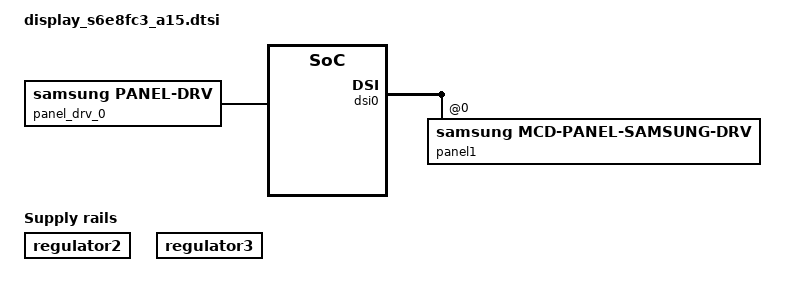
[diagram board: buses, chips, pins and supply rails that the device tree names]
/*
 * Samsung Exynos SoC series Panel driver
 *
 * Copyright (c) 2020 Samsung Electronics Co., Ltd
 *
 * This program is free software; you can redistribute it and/or modify
 * it under the terms of the GNU General Public License version 2 as
 * published by the Free Software Foundation.
 */

#include <dt-bindings/display/panel-display.h>

#define PIN_FUNC_INPUT		input-enable
#define PIN_FUNC_INPUT_WAKEUP	input-enable
#define PIN_FUNC_OUTPUT		output-enable
#define PIN_FUNC_OUTPUT_HIGH		output-high
#define PIN_FUNC_OUTPUT_LOW		output-low

#define PIN_PULL_NONE	bias-disable
#define PIN_PULL_DOWN	bias-pull-down
#define PIN_PULL_UP	bias-pull-up
#define PIN_PULL_OPEN	bias-high-impedance

/*
 * MTK_DRIVE_2mA  2
 * MTK_DRIVE_4mA  4
 * MTK_DRIVE_6mA  6
 * MTK_DRIVE_8mA  8
 * MTK_DRIVE_10mA 10
 * MTK_DRIVE_12mA 12
 * MTK_DRIVE_14mA 14
 * MTK_DRIVE_16mA 16
 */

#define PIN_DRV_LV1	2
#define PIN_DRV_LV2	4
#define PIN_DRV_LV3	6
#define PIN_DRV_LV4	8
#define PIN_DRV_LV5	10
#define PIN_DRV_LV6	12
#define PIN_DRV_LV7	14
#define PIN_DRV_LV8	16

#define PIN_EXPAND(pin) #pin

#define SEC_GPIO(src, type, num)	PIN_EXPAND(gpio##num)
#define SEC_GPIO_REF(src, type, num)	&type num
#define SEC_GPIO_NUM(src, type, num)	num
#define SEC_GPIO_TYPE(src, type, num)	&type
#define SEC_GPIO_PHANDLE_ACTIVE(src, type, num)	SEC_GPIO_PHANDLE(type, num, active)
#define SEC_GPIO_PHANDLE_SLEEP(src, type, num)	SEC_GPIO_PHANDLE(type, num, sleep)
#define SEC_GPIO_PHANDLE(type, num, mode)	type##_##num##_##mode

#define MTK_PINMUX(gpio, func) (MTK_PIN_NO(gpio) | func)

#define GPIO_CONFIG(_src, _type, _num, _func)		\
	pins_cmd_dat{					\
		pinmux = <MTK_PINMUX(SEC_GPIO_NUM(_src, _type, _num), 0)>;	\
		PIN_ ##_func;		\
	}

#define GPIO_CONFIG_PUD(_src, _type, _num, _func, _pull)	\
	pins_cmd_dat{					\
		pinmux = <MTK_PINMUX(SEC_GPIO_NUM(_src, _type, _num), 0)>;	\
		PIN_ ##_pull;				\
		PIN_ ##_func;		\
	}

#define GPIO_CONFIG_PUD_DRV(_src, _type, _num, _func, _pull, _drv)	\
	pins_cmd_dat{					\
		pinmux = <MTK_PINMUX(SEC_GPIO_NUM(_src, _type, _num), 0)>;	\
		PIN_ ##_pull;				\
		PIN_ ##_func;		\
		drive-strength = <PIN_ ##_drv>;	\
	}


/ {
	fragment@smd {
		target-path = "/";
		__overlay__ {
			smd: samsung_mobile_device {
				compatible = "simple-bus";
			};
		};
	};

	fragment@panel_display_mode {
		target-path = "/";
		__overlay__ {
			s6e8fc3_a15_panel_dsc_picture_parameter_set_default:
			s6e8fc3_a15_panel_dsc_picture_parameter_set_default {
					picture_parameter_set = /bits/ 8 <
						0x11 0x00 0x00 0x89 0x30 0x80 0x09 0x24
						0x04 0x38 0x00 0x2D 0x02 0x1C 0x02 0x1C
						0x02 0x00 0x02 0x0E 0x00 0x20 0x04 0x5A
						0x00 0x07 0x00 0x0C 0x02 0x2F 0x02 0x43
						0x18 0x00 0x10 0xF0 0x03 0x0C 0x20 0x00
						0x06 0x0B 0x0B 0x33 0x0E 0x1C 0x2A 0x38
						0x46 0x54 0x62 0x69 0x70 0x77 0x79 0x7B
						0x7D 0x7E 0x01 0x02 0x01 0x00 0x09 0x40
						0x09 0xBE 0x19 0xFC 0x19 0xFA 0x19 0xF8
						0x1A 0x38 0x1A 0x78 0x1A 0xB6 0x2A 0xF6
						0x2B 0x34 0x2B 0x74 0x3B 0x74 0x6B 0xF4
						0x00 0x00 0x00 0x00 0x00 0x00 0x00 0x00
						0x00 0x00 0x00 0x00 0x00 0x00 0x00 0x00
						0x00 0x00 0x00 0x00 0x00 0x00 0x00 0x00
						0x00 0x00 0x00 0x00 0x00 0x00 0x00 0x00
						0x00 0x00 0x00 0x00 0x00 0x00 0x00 0x00
					>;
			};
			a15x_panel_display_modes:
			a15x_panel_display_modes {
				native-mode = <&a15x_panel_display_mode_1080x2340_90hs>;
				exposed-mode = <
					&a15x_panel_display_mode_1080x2340_90hs
					&a15x_panel_display_mode_1080x2340_60hs
				>;

				/* fhd */
				a15x_panel_display_mode_1080x2340_90hs:
				a15x_panel_display_mode_1080x2340_90hs {
					id = PANEL_DISPLAY_MODE_1080x2340_90HS;
					width = <1080>;
					height = <2340>;
					/* timing parameters */
					refresh_rate = <90>;			/* logical refresh rate */
					refresh_mode = <REFRESH_MODE_HS>;
					panel_refresh_rate = <90>;		/* panel internal refresh rate */
					panel_refresh_mode = <PANEL_REFRESH_MODE_HS>;
					panel_te_st = <0>;				/* te rising */
					panel_te_ed = <0>;				/* te falling */
					panel_te_sw_skip_count = <0>;	/* s/w te modulation */
					panel_te_hw_skip_count = <0>;	/* h/w te modulation */

					panel_video_mode;
					panel_h_porch = <98 110 40>;	//HBP, HFP, HSA or HPW
					panel_v_porch = <18 48 2>;	/* panel vbp:12, vfp:4, but for ap vblank set vbp:12+4, vfp:0 */
					/* dsc parameters */
					dsc_en = <1>;			/* 0:Disable, 1:Enable */
					dsc_cnt = <1>;			/* used DSC count */
					dsc_slice_num = <2>;	/* count of dsc slice */
					dsc_slice_w = <540>;	/* width of dsc slice */
					dsc_slice_h = <45>;	/* height of dsc slice */
					dsc_picture_parameter_set = <&s6e8fc3_a15_panel_dsc_picture_parameter_set_default>;
					/* dsi parameters */
					cmd_lp_ref = <1761>;

					/*qos parameters */
					disp_qos_fps = <90>;
				};

				a15x_panel_display_mode_1080x2340_60hs:
				a15x_panel_display_mode_1080x2340_60hs {
					id = PANEL_DISPLAY_MODE_1080x2340_60HS;
					width = <1080>;
					height = <2340>;
					/* timing parameters */
					refresh_rate = <60>;			/* logical refresh rate */
					refresh_mode = <REFRESH_MODE_HS>;
					panel_refresh_rate = <60>;		/* panel internal refresh rate */
					panel_refresh_mode = <PANEL_REFRESH_MODE_HS>;
					panel_te_st = <0>;				/* te rising */
					panel_te_ed = <0>;				/* te falling */
					panel_te_sw_skip_count = <0>;	/* s/w te modulation */
					panel_te_hw_skip_count = <0>;	/* h/w te modulation */

					panel_video_mode;
					panel_h_porch = <98 110 40>;	//HBP, HFP, HSA or HPW
					panel_v_porch = <18 1252 2>;	/* panel vbp:12, vfp:2420, but for ap vblank set vbp:12+2420, vfp:0 */
					/* dsc parameters */
					dsc_en = <1>;			/* 0:Disable, 1:Enable */
					dsc_cnt = <1>;			/* used DSC count */
					dsc_slice_num = <2>;	/* count of dsc slice */
					dsc_slice_w = <540>;	/* width of dsc slice */
					dsc_slice_h = <45>;  //<40>;	/* height of dsc slice */
					dsc_picture_parameter_set = <&s6e8fc3_a15_panel_dsc_picture_parameter_set_default>;
					/* dsi parameters */
					cmd_lp_ref = <7474>;

					/*qos parameters */
					disp_qos_fps = <90>;
				};
			};
		};
	};
};

/ {
	fragment@panel_drv {
		target-path = "/";
		__overlay__ {
			panel_drv_0: panel_drv_0 {
				status = "okay";
				compatible = "samsung,panel-drv";
				panel,id = <0>;

				s6e8fc3_a15x_power_ctrl:
				s6e8fc3_a15x_power_ctrl {
					actions {
						fc3_a15x_vci_on: vci-on {
							type = <PCTRL_REGULATOR_ENABLE>;
							reg = <&ddi_vci>;
						};
						fc3_a15x_vdd3_on: vdd3-on {
							type = <PCTRL_REGULATOR_ENABLE>;
							reg = <&ddi_vdd3>;
						};
						fc3_a15x_vddr_on: vddr-on {
							type = <PCTRL_REGULATOR_ENABLE>;
							reg = <&ddr_vddr>;
						};
						fc3_a15x_vci_off: vci-off {
							type = <PCTRL_REGULATOR_DISABLE>;
							reg = <&ddi_vci>;
						};
						fc3_a15x_vdd3_off: vdd3-off {
							type = <PCTRL_REGULATOR_DISABLE>;
							reg = <&ddi_vdd3>;
						};
						fc3_a15x_vddr_off: vddr-off {
							type = <PCTRL_REGULATOR_DISABLE>;
							reg = <&ddr_vddr>;
						};
						fc3_a15x_delay_1ms: delay-1ms {
							type = <PCTRL_DELAY_MSLEEP>;
							value = <1>;
						};
						fc3_a15x_delay_10ms: delay-10ms {
							type = <PCTRL_DELAY_MSLEEP>;
							value = <10>;
						};
						fc3_a15x_reset_high: reset-high {
							type = <PCTRL_GPIO_ENABLE>;
							gpio = <&disp_reset>;
						};
						fc3_a15x_reset_low: reset-low {
							type = <PCTRL_GPIO_DISABLE>;
							gpio = <&disp_reset>;
						};
					};
					sequences {
						panel_boot_on = <&fc3_a15x_vci_on &fc3_a15x_vdd3_on &fc3_a15x_vddr_on>;
						panel_power_on = <
								&fc3_a15x_vdd3_on &fc3_a15x_delay_1ms &fc3_a15x_vddr_on &fc3_a15x_delay_1ms &fc3_a15x_vci_on &fc3_a15x_delay_10ms
								&fc3_a15x_reset_high &fc3_a15x_delay_10ms
								&fc3_a15x_reset_low &fc3_a15x_delay_10ms
								&fc3_a15x_reset_high &fc3_a15x_delay_10ms
						>;
						panel_power_off = <&fc3_a15x_reset_low &fc3_a15x_delay_1ms &fc3_a15x_vddr_off &fc3_a15x_delay_10ms &fc3_a15x_vdd3_off &fc3_a15x_delay_1ms &fc3_a15x_vci_off>;
					};
				};

				s6e8fc3_a15x_ap:s6e8fc3_a15x_ap {
					MTK,size = <70 154>; /* 70.848 mm x 153.504 mm */
					MTK,timing,dsi-hs-clk = <898>;//<1663>;
					MTK,data_lane = <4>;		/* number of using data lane */
					MTK,multi_drop = <0>;
					MTK,vdo_per_frame_lp_enable = <0>;

					/* DSI phy timing */
					/* WARN: remove this if not needed. */
					/* MTK,phy_timcon-hs_trail = <18>; */
					MTK,phy_timcon-lpx = <14>;
					/* RDMA underflow -> DSI underrun */
					/* ALPS08461394 */
					MTK,disable_rdma_underflow = <1>;
				};

				panels {
					s6e8fc3_a15x: s6e8fc3_a15x {
						ap-vendor-setting = <&s6e8fc3_a15x_ap>;
						display-mode = <&a15x_panel_display_modes>;
						power-ctrl = <&s6e8fc3_a15x_power_ctrl>;
						dqe-suffix = "s6e8fc3_a15x";
						id-mask = <
							PANEL_ID(0x000000) PANEL_MASK(0x000000)
						>;
					};
				};
			};
		};
	};
};

#if 1
&pio {
	ldo_gpio2: ldo_gpio2 {
		GPIO_CONFIG_PUD(AP,pio,35, FUNC_OUTPUT_HIGH, PULL_NONE);
#if 0
		samsung,pin-con-pdn = <3>;
		samsung,pin-pud-pdn = <0>;
#endif
	};

	ldo_gpio3: ldo_gpio3 {
		GPIO_CONFIG_PUD(AP,pio,186, FUNC_OUTPUT_HIGH, PULL_NONE);
#if 0
		samsung,pin-con-pdn = <3>;
		samsung,pin-pud-pdn = <0>;
#endif
	};
};
#endif

&smd {
	regulator2: regulator@2 {
		compatible = "regulator-fixed";
#if 1
		regulator-name = "lcd_vddi";
#else
		regulator-name = "regulator2";
#endif
		gpio = <SEC_GPIO_REF(AP,pio,35) 0>;
		pinctrl-names = "default";
		pinctrl-0 = <&ldo_gpio2>;
		enable-active-high;
	};

	regulator3: regulator@3 {
		compatible = "regulator-fixed";
#if 1
		regulator-name = "lcd_vdd3";
#else
		regulator-name = "regulator3";
#endif
		gpio = <SEC_GPIO_REF(AP,pio,186) 0>;
		pinctrl-names = "default";
		pinctrl-0 = <&ldo_gpio3>;
		enable-active-high;
	};
};

&dsi0 {
	panel1@0 {
		compatible = "samsung,mcd-panel-samsung-drv";
	};
};
